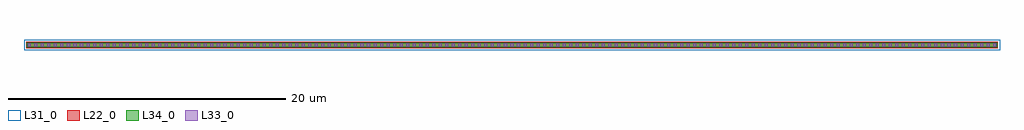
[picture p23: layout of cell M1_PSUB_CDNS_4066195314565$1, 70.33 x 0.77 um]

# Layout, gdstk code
import gdstk
lib = gdstk.Library(unit=1e-6, precision=1e-09)
def R(c, l, rs):  # rectangles x0, y0, x1, y1
    for r in rs: c.add(gdstk.rectangle(r[:2], r[2:], *l))
def A(c, l, x, y, w, h, nx, ny, dx, dy):  # array of equal rectangles
    R(c, l, [(x+i*dx, y+j*dy, x+i*dx+w, y+j*dy+h) for i in range(nx) for j in range(ny)])
L22_0 = (22, 0)
L31_0 = (31, 0)
L33_0 = (33, 0)
L34_0 = (34, 0)

m1_psub_cdns_40661953145 = lib.new_cell('M1_PSUB_CDNS_4066195314565$1')
R(m1_psub_cdns_40661953145, L22_0, [(-35.005,-0.225,35.005,0.225)])
R(m1_psub_cdns_40661953145, L31_0, [(-35.165,-0.385,35.165,0.385)])
A(m1_psub_cdns_40661953145, L33_0, -34.89, -0.11, 0.22, 0.22, 149, 1, 0.47, 0)
R(m1_psub_cdns_40661953145, L34_0, [(-34.95,-0.17,34.95,0.17)])

lib.write_gds('M1_PSUB_CDNS_4066195314565_1.gds')
